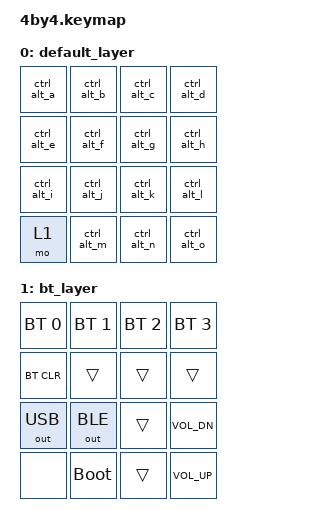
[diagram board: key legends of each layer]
/*
 * Copyright (c) 2020 The ZMK Contributors
 *
 * SPDX-License-Identifier: MIT
 */

#include <behaviors.dtsi>
#include <dt-bindings/zmk/keys.h>
#include <dt-bindings/zmk/bt.h>
#include <dt-bindings/zmk/outputs.h>

#define DEFAULT 0
#define BT   1

/ {
    macros {
        ctrl_alt_a: ctrl_alt_a {
            label = "CTRL_ALT_A";
            compatible = "zmk,behavior-macro";
            #binding-cells = <0>;
            bindings
                = <&macro_press &kp LEFT_CONTROL>
                , <&macro_press &kp LEFT_ALT>
                , <&macro_tap &kp A>
                , <&macro_release &kp LEFT_CONTROL>
                , <&macro_release &kp LEFT_ALT>
                ;
        };
    
    
        ctrl_alt_b: ctrl_alt_b {
            label = "CTRL_ALT_B";
            compatible = "zmk,behavior-macro";
            #binding-cells = <0>;
            bindings
                = <&macro_press &kp LEFT_CONTROL>
                , <&macro_press &kp LEFT_ALT>
                , <&macro_tap &kp B>
                , <&macro_release &kp LEFT_CONTROL>
                , <&macro_release &kp LEFT_ALT>
                ;
        };
    
    
        ctrl_alt_c: ctrl_alt_c {
            label = "CTRL_ALT_C";
            compatible = "zmk,behavior-macro";
            #binding-cells = <0>;
            bindings
                = <&macro_press &kp LEFT_CONTROL>
                , <&macro_press &kp LEFT_ALT>
                , <&macro_tap &kp C>
                , <&macro_release &kp LEFT_CONTROL>
                , <&macro_release &kp LEFT_ALT>
                ;
        };
    
    
        ctrl_alt_d: ctrl_alt_d {
            label = "CTRL_ALT_D";
            compatible = "zmk,behavior-macro";
            #binding-cells = <0>;
            bindings
                = <&macro_press &kp LEFT_CONTROL>
                , <&macro_press &kp LEFT_ALT>
                , <&macro_tap &kp D>
                , <&macro_release &kp LEFT_CONTROL>
                , <&macro_release &kp LEFT_ALT>
                ;
        };
    
    
        ctrl_alt_e: ctrl_alt_e {
            label = "CTRL_ALT_E";
            compatible = "zmk,behavior-macro";
            #binding-cells = <0>;
            bindings
                = <&macro_press &kp LEFT_CONTROL>
                , <&macro_press &kp LEFT_ALT>
                , <&macro_tap &kp E>
                , <&macro_release &kp LEFT_CONTROL>
                , <&macro_release &kp LEFT_ALT>
                ;
        };
    
    
        ctrl_alt_f: ctrl_alt_f {
            label = "CTRL_ALT_F";
            compatible = "zmk,behavior-macro";
            #binding-cells = <0>;
            bindings
                = <&macro_press &kp LEFT_CONTROL>
                , <&macro_press &kp LEFT_ALT>
                , <&macro_tap &kp F>
                , <&macro_release &kp LEFT_CONTROL>
                , <&macro_release &kp LEFT_ALT>
                ;
        };
    
    
        ctrl_alt_g: ctrl_alt_g {
            label = "CTRL_ALT_G";
            compatible = "zmk,behavior-macro";
            #binding-cells = <0>;
            bindings
                = <&macro_press &kp LEFT_CONTROL>
                , <&macro_press &kp LEFT_ALT>
                , <&macro_tap &kp G>
                , <&macro_release &kp LEFT_CONTROL>
                , <&macro_release &kp LEFT_ALT>
                ;
        };
    
    
        ctrl_alt_h: ctrl_alt_h {
            label = "CTRL_ALT_H";
            compatible = "zmk,behavior-macro";
            #binding-cells = <0>;
            bindings
                = <&macro_press &kp LEFT_CONTROL>
                , <&macro_press &kp LEFT_ALT>
                , <&macro_tap &kp H>
                , <&macro_release &kp LEFT_CONTROL>
                , <&macro_release &kp LEFT_ALT>
                ;
        };
    
    
        ctrl_alt_i: ctrl_alt_i {
            label = "CTRL_ALT_I";
            compatible = "zmk,behavior-macro";
            #binding-cells = <0>;
            bindings
                = <&macro_press &kp LEFT_CONTROL>
                , <&macro_press &kp LEFT_ALT>
                , <&macro_tap &kp I>
                , <&macro_release &kp LEFT_CONTROL>
                , <&macro_release &kp LEFT_ALT>
                ;
        };
    
    
        ctrl_alt_j: ctrl_alt_j {
            label = "CTRL_ALT_J";
            compatible = "zmk,behavior-macro";
            #binding-cells = <0>;
            bindings
                = <&macro_press &kp LEFT_CONTROL>
                , <&macro_press &kp LEFT_ALT>
                , <&macro_tap &kp J>
                , <&macro_release &kp LEFT_CONTROL>
                , <&macro_release &kp LEFT_ALT>
                ;
        };
    
    
        ctrl_alt_k: ctrl_alt_k {
            label = "CTRL_ALT_K";
            compatible = "zmk,behavior-macro";
            #binding-cells = <0>;
            bindings
                = <&macro_press &kp LEFT_CONTROL>
                , <&macro_press &kp LEFT_ALT>
                , <&macro_tap &kp K>
                , <&macro_release &kp LEFT_CONTROL>
                , <&macro_release &kp LEFT_ALT>
                ;
        };
    
    
        ctrl_alt_l: ctrl_alt_l {
            label = "CTRL_ALT_L";
            compatible = "zmk,behavior-macro";
            #binding-cells = <0>;
            bindings
                = <&macro_press &kp LEFT_CONTROL>
                , <&macro_press &kp LEFT_ALT>
                , <&macro_tap &kp L>
                , <&macro_release &kp LEFT_CONTROL>
                , <&macro_release &kp LEFT_ALT>
                ;
        };
    
    
        ctrl_alt_m: ctrl_alt_m {
            label = "CTRL_ALT_M";
            compatible = "zmk,behavior-macro";
            #binding-cells = <0>;
            bindings
                = <&macro_press &kp LEFT_CONTROL>
                , <&macro_press &kp LEFT_ALT>
                , <&macro_tap &kp M>
                , <&macro_release &kp LEFT_CONTROL>
                , <&macro_release &kp LEFT_ALT>
                ;
        };
    
    
        ctrl_alt_n: ctrl_alt_n {
            label = "CTRL_ALT_N";
            compatible = "zmk,behavior-macro";
            #binding-cells = <0>;
            bindings
                = <&macro_press &kp LEFT_CONTROL>
                , <&macro_press &kp LEFT_ALT>
                , <&macro_tap &kp N>
                , <&macro_release &kp LEFT_CONTROL>
                , <&macro_release &kp LEFT_ALT>
                ;
        };
    
    
        ctrl_alt_o: ctrl_alt_o {
            label = "CTRL_ALT_O";
            compatible = "zmk,behavior-macro";
            #binding-cells = <0>;
            bindings
                = <&macro_press &kp LEFT_CONTROL>
                , <&macro_press &kp LEFT_ALT>
                , <&macro_tap &kp O>
                , <&macro_release &kp LEFT_CONTROL>
                , <&macro_release &kp LEFT_ALT>
                ;
        };
    };
    


    keymap {
        compatible = "zmk,keymap";

        default_layer {
// ------------------------------------------------
// |   7   |    8    |    9    |    /    |
// |   4   |    5    |    6    |    *    |
// |   1   |    2    |    3    |    -    |
// |   BT  |    0    |    .    |    +    |
           
            // bindings = <
            // &kp KP_N7     &kp KP_N8     &kp KP_N9     &kp KP_DIVIDE
            // &kp KP_N4     &kp KP_N5     &kp KP_N6     &kp KP_MULTIPLY
            // &kp KP_N1     &kp KP_N2     &kp KP_N3     &kp KP_MINUS
            // &mo 1         &kp KP_N0     &kp KP_DOT    &kp KP_PLUS
            // >;
            bindings = <
            &ctrl_alt_a     &ctrl_alt_b     &ctrl_alt_c     &ctrl_alt_d
            &ctrl_alt_e     &ctrl_alt_f     &ctrl_alt_g     &ctrl_alt_h
            &ctrl_alt_i     &ctrl_alt_j     &ctrl_alt_k     &ctrl_alt_l
            &mo 1           &ctrl_alt_m     &ctrl_alt_n     &ctrl_alt_o
            >;
            };

            bt_layer {
// ------------------------------------------------
// |   BT 1  |   BT 2   |  BT 3   |  BT 4   |
// |  BT RST |          |         |         |
// |   USB   |    BLE   |         | vol dn  |
// |         |    RST   |         | vol up  |

            bindings = <
            &bt BT_SEL 0   &bt BT_SEL 1   &bt BT_SEL 2   &bt BT_SEL 3
            &bt BT_CLR     &trans         &trans         &trans
            &out OUT_USB   &out OUT_BLE   &trans         &kp C_VOL_DN
            &none          &bootloader    &trans         &kp C_VOL_UP
            >;
         };
    };
};
